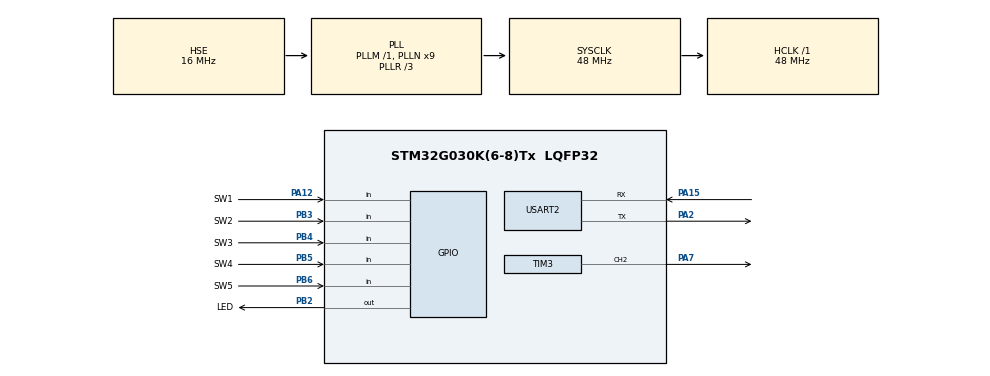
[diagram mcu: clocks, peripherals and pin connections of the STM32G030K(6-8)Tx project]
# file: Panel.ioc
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Dma.Request0=USART2_RX
Dma.Request1=TIM3_CH2
Dma.TIM3_CH2.1.Direction=DMA_MEMORY_TO_PERIPH
Dma.TIM3_CH2.1.EventEnable=DISABLE
Dma.TIM3_CH2.1.Instance=DMA1_Channel2
Dma.TIM3_CH2.1.MemDataAlignment=DMA_MDATAALIGN_BYTE
Dma.TIM3_CH2.1.MemInc=DMA_MINC_ENABLE
Dma.TIM3_CH2.1.Mode=DMA_CIRCULAR
Dma.TIM3_CH2.1.PeriphDataAlignment=DMA_PDATAALIGN_WORD
Dma.TIM3_CH2.1.PeriphInc=DMA_PINC_DISABLE
Dma.TIM3_CH2.1.Polarity=HAL_DMAMUX_REQ_GEN_RISING
Dma.TIM3_CH2.1.Priority=DMA_PRIORITY_VERY_HIGH
Dma.TIM3_CH2.1.RequestNumber=1
Dma.TIM3_CH2.1.SignalID=NONE
Dma.TIM3_CH2.1.SyncEnable=DISABLE
Dma.TIM3_CH2.1.SyncPolarity=HAL_DMAMUX_SYNC_NO_EVENT
Dma.TIM3_CH2.1.SyncRequestNumber=1
Dma.TIM3_CH2.1.SyncSignalID=NONE
Dma.USART2_RX.0.Direction=DMA_PERIPH_TO_MEMORY
Dma.USART2_RX.0.EventEnable=DISABLE
Dma.USART2_RX.0.Instance=DMA1_Channel1
Dma.USART2_RX.0.MemDataAlignment=DMA_MDATAALIGN_BYTE
Dma.USART2_RX.0.MemInc=DMA_MINC_ENABLE
Dma.USART2_RX.0.Mode=DMA_CIRCULAR
Dma.USART2_RX.0.PeriphDataAlignment=DMA_PDATAALIGN_BYTE
Dma.USART2_RX.0.PeriphInc=DMA_PINC_DISABLE
Dma.USART2_RX.0.Polarity=HAL_DMAMUX_REQ_GEN_RISING
Dma.USART2_RX.0.Priority=DMA_PRIORITY_HIGH
Dma.USART2_RX.0.RequestNumber=1
Dma.USART2_RX.0.SignalID=NONE
Dma.USART2_RX.0.SyncEnable=DISABLE
Dma.USART2_RX.0.SyncPolarity=HAL_DMAMUX_SYNC_NO_EVENT
Dma.USART2_RX.0.SyncRequestNumber=1
Dma.USART2_RX.0.SyncSignalID=NONE
Mcu.Family=STM32G0
Mcu.Name=STM32G030K(6-8)Tx
Mcu.Package=LQFP32
NVIC.DMA1_Channel1_IRQn=true\:0\:0\:false\:false\:true\:false\:true\:true
NVIC.DMA1_Channel2_3_IRQn=true\:0\:0\:false\:false\:true\:false\:true\:true
PA12\ [PA10].GPIO_Label=SW1
PA12\ [PA10].Signal=GPIO_Input
PA13.Mode=Serial_Wire
PA13.Signal=SYS_SWDIO
PA14-BOOT0.Mode=Serial_Wire
PA14-BOOT0.Signal=SYS_SWCLK
PA15.Mode=Asynchronous
PA15.Signal=USART2_RX
PA2.Mode=Asynchronous
PA2.Signal=USART2_TX
PA7.Signal=S_TIM3_CH2
PB2.GPIO_Label=LED
PB2.Signal=GPIO_Output
PB3.GPIO_Label=SW2
PB3.Signal=GPIO_Input
PB4.GPIO_Label=SW3
PB4.Signal=GPIO_Input
PB5.GPIO_Label=SW4
PB5.Signal=GPIO_Input
PB6.GPIO_Label=SW5
PB6.Signal=GPIO_Input
PC14-OSC32_IN\ (PC14).Mode=HSE-External-Clock-Source
PC14-OSC32_IN\ (PC14).Signal=RCC_OSC_IN
ProjectManager.HeapSize=0x200
ProjectManager.StackSize=0x400
ProjectManager.TargetToolchain=STM32CubeIDE
RCC.ADCFreq_Value=48000000
RCC.AHBFreq_Value=48000000
RCC.CortexFreq_Value=48000000
RCC.EXTERNAL_CLOCK_VALUE=12288000
RCC.HCLKFreq_Value=48000000
RCC.HSE_VALUE=16000000
RCC.HSI_VALUE=16000000
RCC.LSE_VALUE=32768
RCC.PLLN=9
RCC.PLLR=RCC_PLLR_DIV3
RCC.PLLSourceVirtual=RCC_PLLSOURCE_HSE
RCC.SYSCLKFreq_VALUE=48000000
RCC.SYSCLKSource=RCC_SYSCLKSOURCE_PLLCLK
RCC.VCOOutputFreq_Value=144000000
SH.S_TIM3_CH2.0=TIM3_CH2,PWM Generation2 CH2
TIM3.Channel-PWM\ Generation2\ CH2=TIM_CHANNEL_2
TIM3.OCFastMode_PWM-PWM\ Generation2\ CH2=TIM_OCFAST_ENABLE
TIM3.Period=15-1
TIM3.Prescaler=4-1
USART2.VirtualMode-Asynchronous=VM_ASYNC
VP_TIM3_VS_ClockSourceINT.Mode=Internal
board=custom

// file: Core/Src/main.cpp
/* USER CODE BEGIN Header */
/**
  ******************************************************************************
  * @file           : main.c
  * @brief          : Main program body
  ******************************************************************************
  * @attention
  *
  * Copyright (c) 2024 STMicroelectronics.
  * All rights reserved.
  *
  * This software is licensed under terms that can be found in the LICENSE file
  * in the root directory of this software component.
  * If no LICENSE file comes with this software, it is provided AS-IS.
  *
  ******************************************************************************
  */
/* USER CODE END Header */
#include "main.h"

/* USER CODE BEGIN Includes */
#include "ws2812.h"
#include "led.h"
//#include "sdma_transmit.h"
#include "image.h"

/* USER CODE END Includes */

TIM_HandleTypeDef htim3;
DMA_HandleTypeDef hdma_tim3_ch2;

UART_HandleTypeDef huart2;
DMA_HandleTypeDef hdma_usart2_rx;

/* USER CODE BEGIN PV */
WS2812 Neopixel(&htim3, TIM_CHANNEL_2, &hdma_tim3_ch2);
LED led(&Neopixel);

uint8_t p_wrtptA=0;
uint8_t p_rdptA=0;
uint16_t stop_counterA=0;
uint16_t error_counterA=0;

uint8_t rxBuf[128];
uint8_t Data[30];

int8_t myid = 0;

int16_t circle_x = 0;
int16_t circle_z = 0;
uint8_t circle_r = 0;
uint8_t circle_h = 0;
uint8_t circle_s = 255;
uint8_t circle_v = 50;
uint8_t back_h = 0;
uint8_t back_s = 255;
uint8_t back_v = 50;
uint8_t square_h = 0;
uint8_t square_s = 255;
uint8_t square_v = 50;

uint8_t image_id[6] = {0};
uint8_t image_x[6] = {0};
uint8_t image_z[6] = {0};

/* USER CODE END PV */

void SystemClock_Config(void);
static void MX_GPIO_Init(void);
static void MX_DMA_Init(void);
static void MX_USART2_UART_Init(void);
static void MX_TIM3_Init(void);
/* USER CODE BEGIN PFP */
void readBuf(UART_HandleTypeDef* uart, uint8_t* buf, int buf_size, uint8_t* data, int data_size, uint8_t id, uint8_t* p_wrtpt, uint8_t* p_rdpt, uint16_t* stop_counter, uint16_t* error_counter, uint8_t go_back);
/* USER CODE END PFP */

/* USER CODE BEGIN 0 */

void HAL_TIM_PWM_PulseFinishedHalfCpltCallback(TIM_HandleTypeDef *htim) {
	Neopixel.do_forwardRewrite();
}

void HAL_TIM_PWM_PulseFinishedCallback(TIM_HandleTypeDef *htim){
	Neopixel.do_backRewrite();
}

uint8_t readID(){
	uint8_t ID = 0;
	if(HAL_GPIO_ReadPin(SW1_GPIO_Port, SW1_Pin)==1){
		ID+=1;
	}
	if(HAL_GPIO_ReadPin(SW2_GPIO_Port, SW2_Pin)==1){
		ID+=2;
	}
	if(HAL_GPIO_ReadPin(SW3_GPIO_Port, SW3_Pin)==1){
		ID+=4;
	}
	//養生5番はここを消す。ハード故障。
	if(HAL_GPIO_ReadPin(SW4_GPIO_Port, SW4_Pin)==1){
		ID+=8;
	}
	if(HAL_GPIO_ReadPin(SW5_GPIO_Port, SW5_Pin)==1){
		ID+=16;
	}
	return ID;
}

/* USER CODE END 0 */

int main(void)
{

  /* MCU Configuration--------------------------------------------------------*/

  /* Reset of all peripherals, Initializes the Flash interface and the Systick. */
  HAL_Init();

  /* USER CODE BEGIN Init */
  for(uint8_t i=0; i<128; i++){
	  rxBuf[i] = 255;
  }

  /* USER CODE END Init */

  /* Configure the system clock */
  SystemClock_Config();

  /* Initialize all configured peripherals */
  MX_GPIO_Init();
  MX_DMA_Init();
  MX_USART2_UART_Init();
  MX_TIM3_Init();
  /* USER CODE BEGIN 2 */

  HAL_UART_Receive_DMA(&huart2, rxBuf, 128);
  HAL_Delay(1);

  // Start Motion
  Neopixel.clear();
  for(uint16_t n=0; n<256; n++){
	  Neopixel.set_hsv(n, 100, 100, 5);
  }
  Neopixel.show();
  Neopixel.show(); //これ2回連続にしないと、最後の一つが光らない。なんでなん。
  HAL_Delay(1000);

  for(int naname=0; naname<121; naname++){
	  Neopixel.clear();
	  for(int px=0; px<16; px++){
		  for(int pz=0; pz<16; pz++){
			  int hue = 10;
			  int sat = 100;
			  int val = 0;

			  if(naname < 31){
				  if(pz+px <= naname){hue=50;val=20;}
		   	  }else if(naname < 61){
				  if((15-pz)+px <= naname-30){hue=100;val=20;}
		   	  }else if(naname < 91){
				  if(pz+px <= naname-60){hue=150;val=20;}
		   	  }else if(naname < 121){
				  if((15-pz)+px <= naname-90){hue=200;val=20;}
		   	  }
			  uint16_t pixel_num = 0;
			  if(pz%2 == 0){pixel_num = pz*16 + px;
			  }else{pixel_num = pz*16 + 15 - px;}
			  Neopixel.set_hsv(pixel_num, hue, sat, val);
		  }
	  }
	  Neopixel.show();
	  HAL_Delay(10);
  }
  HAL_Delay(1000);

  /* USER CODE END 2 */

  /* Infinite loop */
  /* USER CODE BEGIN WHILE */
  while (1)
  {
	readBuf(&huart2, rxBuf, 128, Data, 30, 0, &p_wrtptA, &p_rdptA, &stop_counterA, &error_counterA, 60);
	myid = readID();

	circle_x = Data[0]-100;
	circle_z = Data[1]-100;
	circle_r = Data[2];
	circle_h = Data[3];
	circle_s = Data[4];
	circle_v = Data[5];
	back_h = Data[6];
	back_s = Data[7];
	back_v = Data[8];
	square_h = Data[9];
	square_s = Data[10];
	square_v = Data[11];
	for(uint8_t i=0; i<6; i++){
		image_id[i] = Data[12+(i*3)];
		image_x[i] = Data[13+(i*3)]-100;
		image_z[i] = Data[14+(i*3)]-100;
	}

    /* USER CODE END WHILE */

    /* USER CODE BEGIN 3 */

	  Neopixel.clear();

	  //----------------------------------------------
	  uint16_t PANEL_START_X = 0;
	  uint16_t PANEL_START_Z = 0;

	  if	 (myid==0){PANEL_START_X = 0; PANEL_START_Z = 0;}
	  else if(myid==1){PANEL_START_X = 0; PANEL_START_Z = 16;}
	  else if(myid==2){PANEL_START_X = 0; PANEL_START_Z = 32;}

	  else if(myid==3){PANEL_START_X = 16; PANEL_START_Z = 0;}
	  else if(myid==4){PANEL_START_X = 16; PANEL_START_Z = 16;}
	  else if(myid==5){PANEL_START_X = 16; PANEL_START_Z = 32;}

	  else if(myid==6){PANEL_START_X = 32; PANEL_START_Z = 0;}
	  else if(myid==7){PANEL_START_X = 32; PANEL_START_Z = 16;}
	  else if(myid==8){PANEL_START_X = 32; PANEL_START_Z = 32;}

//	  void LED::show(int travel_x, int circle_x, int circle_z, int circle_r, int hue, int hue_of_back){
//	      NEOPIXEL->clear();
	  for(int px=0; px<16; px++){
		  for(int pz=0; pz<16; pz++){
			  int x = px + PANEL_START_X;
			  int z = pz + PANEL_START_Z;

			  //BACK_GROUND
			  int hue=back_h;
			  int sat=back_s;
			  int val=back_v;

			  //square
			  if((x==0 || x==1)||(x==46 || x==47)){
					hue = square_h; sat = square_s; val = square_v;
			  }
			  if((z==0 || z==1)||(z==46 || z==47)){
			  		hue = square_h; sat = square_s; val = square_v;
			  }

			  //CIRCLE
			  if(circle_r != 0){
				  int8_t cx = 47-circle_x;
				  int8_t cz = circle_z;
				  uint8_t cr = circle_r;
				  uint8_t myx = x;
				  uint8_t myz = z;
				  float distance = (myx-cx)*(myx-cx)+(myz-cz)*(myz-cz);
				  if(cr*cr>=distance){
					hue = circle_h; sat = circle_s; val = circle_v;
				  }
			  }

			  //image
			  for(uint8_t i=0; i<6; i++){
				  if(image_id[i] != 0){
					  int8_t cx = 47-image_x[i];
					  int8_t cz = image_z[i];
					  if(image_id[i] == 1){ //fish_15x6[6][15]
						  // xが　cxからcx+15の間かどうか
						  //cxからの距離
						  int8_t xx = x - cx;
						  int8_t zz = z - cz;
						  if((0<=xx && xx<15) && (0<=zz && zz<6)){
							  //範囲内。色をつけよう。
							  if(fish_15x6[zz][xx] == 1){ //目ん玉
								hue = 90; sat = 250; val = 200;
							  }else if(fish_15x6[zz][xx] == 2){ //体
								hue = 14; sat = 255; val = 150;
							  }
						  }
					  }else if(image_id[i] == 2){ //fish_15x6[6][15]
						  // xが　cxからcx+15の間かどうか
						  //cxからの距離
						  int8_t xx = x - cx;
						  int8_t zz = z - cz;
						  if((0<=xx && xx<15) && (0<=zz && zz<6)){
							  //範囲内。色をつけよう。
							  if(fish_15x6[zz][14-xx] == 1){ //目ん玉
								hue = 90; sat = 250; val = 200;
							  }else if(fish_15x6[zz][14-xx] == 2){ //体
								hue = 14; sat = 255; val = 150;
							  }
						  }
					  }
				  }
			  }

			  //SET
			  uint16_t pixel_num = 0;
			  if(pz%2 == 0){
				   pixel_num = pz*16 + px;
			  }else{
				  pixel_num = pz*16 + 15 - px;
			  }
			  Neopixel.set_hsv(pixel_num, hue, sat, val);
		  }
	  }
	  Neopixel.show();

  }
  /* USER CODE END 3 */
}

void SystemClock_Config(void)
{
  RCC_OscInitTypeDef RCC_OscInitStruct = {0};
  RCC_ClkInitTypeDef RCC_ClkInitStruct = {0};

  /** Configure the main internal regulator output voltage
  */
  HAL_PWREx_ControlVoltageScaling(PWR_REGULATOR_VOLTAGE_SCALE1);

  /** Initializes the RCC Oscillators according to the specified parameters
  * in the RCC_OscInitTypeDef structure.
  */
  RCC_OscInitStruct.OscillatorType = RCC_OSCILLATORTYPE_HSE;
  RCC_OscInitStruct.HSEState = RCC_HSE_BYPASS;
  RCC_OscInitStruct.PLL.PLLState = RCC_PLL_ON;
  RCC_OscInitStruct.PLL.PLLSource = RCC_PLLSOURCE_HSE;
  RCC_OscInitStruct.PLL.PLLM = RCC_PLLM_DIV1;
  RCC_OscInitStruct.PLL.PLLN = 9;
  RCC_OscInitStruct.PLL.PLLP = RCC_PLLP_DIV2;
  RCC_OscInitStruct.PLL.PLLR = RCC_PLLR_DIV3;
  if (HAL_RCC_OscConfig(&RCC_OscInitStruct) != HAL_OK)
  {
    Error_Handler();
  }

  /** Initializes the CPU, AHB and APB buses clocks
  */
  RCC_ClkInitStruct.ClockType = RCC_CLOCKTYPE_HCLK|RCC_CLOCKTYPE_SYSCLK
                              |RCC_CLOCKTYPE_PCLK1;
  RCC_ClkInitStruct.SYSCLKSource = RCC_SYSCLKSOURCE_PLLCLK;
  RCC_ClkInitStruct.AHBCLKDivider = RCC_SYSCLK_DIV1;
  RCC_ClkInitStruct.APB1CLKDivider = RCC_HCLK_DIV1;

  if (HAL_RCC_ClockConfig(&RCC_ClkInitStruct, FLASH_LATENCY_1) != HAL_OK)
  {
    Error_Handler();
  }
}

static void MX_TIM3_Init(void)
{

  TIM_ClockConfigTypeDef sClockSourceConfig = {0};
  TIM_MasterConfigTypeDef sMasterConfig = {0};
  TIM_OC_InitTypeDef sConfigOC = {0};

  htim3.Instance = TIM3;
  htim3.Init.Prescaler = 4-1;
  htim3.Init.CounterMode = TIM_COUNTERMODE_UP;
  htim3.Init.Period = 15-1;
  htim3.Init.ClockDivision = TIM_CLOCKDIVISION_DIV1;
  htim3.Init.AutoReloadPreload = TIM_AUTORELOAD_PRELOAD_DISABLE;
  if (HAL_TIM_Base_Init(&htim3) != HAL_OK)
  {
    Error_Handler();
  }
  sClockSourceConfig.ClockSource = TIM_CLOCKSOURCE_INTERNAL;
  if (HAL_TIM_ConfigClockSource(&htim3, &sClockSourceConfig) != HAL_OK)
  {
    Error_Handler();
  }
  if (HAL_TIM_PWM_Init(&htim3) != HAL_OK)
  {
    Error_Handler();
  }
  sMasterConfig.MasterOutputTrigger = TIM_TRGO_RESET;
  sMasterConfig.MasterSlaveMode = TIM_MASTERSLAVEMODE_DISABLE;
  if (HAL_TIMEx_MasterConfigSynchronization(&htim3, &sMasterConfig) != HAL_OK)
  {
    Error_Handler();
  }
  sConfigOC.OCMode = TIM_OCMODE_PWM1;
  sConfigOC.Pulse = 0;
  sConfigOC.OCPolarity = TIM_OCPOLARITY_HIGH;
  sConfigOC.OCFastMode = TIM_OCFAST_ENABLE;
  if (HAL_TIM_PWM_ConfigChannel(&htim3, &sConfigOC, TIM_CHANNEL_2) != HAL_OK)
  {
    Error_Handler();
  }
  HAL_TIM_MspPostInit(&htim3);

}

static void MX_USART2_UART_Init(void)
{

  huart2.Instance = USART2;
  huart2.Init.BaudRate = 115200;
  huart2.Init.WordLength = UART_WORDLENGTH_8B;
  huart2.Init.StopBits = UART_STOPBITS_1;
  huart2.Init.Parity = UART_PARITY_NONE;
  huart2.Init.Mode = UART_MODE_TX_RX;
  huart2.Init.HwFlowCtl = UART_HWCONTROL_NONE;
  huart2.Init.OverSampling = UART_OVERSAMPLING_16;
  huart2.Init.OneBitSampling = UART_ONE_BIT_SAMPLE_DISABLE;
  huart2.Init.ClockPrescaler = UART_PRESCALER_DIV1;
  huart2.AdvancedInit.AdvFeatureInit = UART_ADVFEATURE_NO_INIT;
  if (HAL_UART_Init(&huart2) != HAL_OK)
  {
    Error_Handler();
  }

}

static void MX_DMA_Init(void)
{

  /* DMA controller clock enable */
  __HAL_RCC_DMA1_CLK_ENABLE();

  /* DMA interrupt init */
  /* DMA1_Channel1_IRQn interrupt configuration */
  HAL_NVIC_SetPriority(DMA1_Channel1_IRQn, 0, 0);
  HAL_NVIC_EnableIRQ(DMA1_Channel1_IRQn);
  /* DMA1_Channel2_3_IRQn interrupt configuration */
  HAL_NVIC_SetPriority(DMA1_Channel2_3_IRQn, 0, 0);
  HAL_NVIC_EnableIRQ(DMA1_Channel2_3_IRQn);

}

static void MX_GPIO_Init(void)
{
  GPIO_InitTypeDef GPIO_InitStruct = {0};

  /* GPIO Ports Clock Enable */
  __HAL_RCC_GPIOC_CLK_ENABLE();
  __HAL_RCC_GPIOA_CLK_ENABLE();
  __HAL_RCC_GPIOB_CLK_ENABLE();

  /*Configure GPIO pin Output Level */
  HAL_GPIO_WritePin(LED_GPIO_Port, LED_Pin, GPIO_PIN_RESET);

  /*Configure GPIO pin : LED_Pin */
  GPIO_InitStruct.Pin = LED_Pin;
  GPIO_InitStruct.Mode = GPIO_MODE_OUTPUT_PP;
  GPIO_InitStruct.Pull = GPIO_NOPULL;
  GPIO_InitStruct.Speed = GPIO_SPEED_FREQ_LOW;
  HAL_GPIO_Init(LED_GPIO_Port, &GPIO_InitStruct);

  /*Configure GPIO pin : SW1_Pin */
  GPIO_InitStruct.Pin = SW1_Pin;
  GPIO_InitStruct.Mode = GPIO_MODE_INPUT;
  GPIO_InitStruct.Pull = GPIO_NOPULL;
  HAL_GPIO_Init(SW1_GPIO_Port, &GPIO_InitStruct);

  /*Configure GPIO pins : SW2_Pin SW3_Pin SW4_Pin SW5_Pin */
  GPIO_InitStruct.Pin = SW2_Pin|SW3_Pin|SW4_Pin|SW5_Pin;
  GPIO_InitStruct.Mode = GPIO_MODE_INPUT;
  GPIO_InitStruct.Pull = GPIO_NOPULL;
  HAL_GPIO_Init(GPIOB, &GPIO_InitStruct);

}

/* USER CODE BEGIN 4 */

void readBuf(UART_HandleTypeDef* uart, uint8_t* buf, int buf_size, uint8_t* data, int data_size, uint8_t id, uint8_t* p_wrtpt, uint8_t* p_rdpt, uint16_t* stop_counter, uint16_t* error_counter, uint8_t go_back){
	int wrt_pt = uart->hdmarx->Instance->CNDTR;
	wrt_pt= buf_size - wrt_pt;
	int rd_pt;

	if(wrt_pt != *p_rdpt){//wrtに追??��?��?付かれてな??��?��?
		if(buf[*p_rdpt] == 255){//p_rdptが書き換えられてな??��?��?=追??��?��?越されてな??��?��?
			if(wrt_pt != *p_wrtpt){//wrt_ptが�???��?��んだ=受信した
//正常
				*stop_counter = 0;
				rd_pt = *p_rdpt;
			}else{//wrt_ptが�???��?��んでな??��?��?=受信してな??��?��?
//受信してな??��?��?
				(*stop_counter)++;
				rd_pt = *p_rdpt;
			}
		}else{//p_rdptが書き換えられた=追??��?��?越された
//追??��?��?越された
			(*error_counter)++;
			rd_pt = wrt_pt - go_back;
				if(rd_pt < 0){rd_pt += buf_size;}
		}
	}else{//wrtに追??��?��?付かれた,追??��?��?付い??��?��?
		int front_pt = wrt_pt + 1;
			if(front_pt>buf_size-1){front_pt -= buf_size;}

		if(buf[front_pt] == 255){
//追??��?��?付い??��?��?
			(*stop_counter)++;
			rd_pt = *p_rdpt;
		}else{
//追??��?��?付かれた
			(*error_counter)++;
			rd_pt = wrt_pt - go_back;
				if(rd_pt < 0){rd_pt += buf_size;}
		}
	}

	if(*stop_counter > 65500){*stop_counter = 65500;}
	if(*error_counter > 65500){*error_counter = 65500;}

	while(1){
		int dif_pt = wrt_pt - rd_pt;
			if(dif_pt < 0){dif_pt += buf_size;}
		if(dif_pt <= go_back/2){break;}

		rd_pt++;
			if(rd_pt>buf_size-1){rd_pt -= buf_size;}

		if(buf[rd_pt] == 250+id){
			int goal_rdpt = rd_pt + data_size;//data_sizeに0はとれな??��?��?,25以上も??��?��???��?��?

				if(goal_rdpt>buf_size-1){goal_rdpt -= buf_size;}
			int temp_rdpt = rd_pt;

			buf[rd_pt] = 255;

			for(int i=0; i<data_size; i++){
				temp_rdpt += 1;
					if(temp_rdpt>buf_size-1){temp_rdpt -= buf_size;}

				data[i] = buf[temp_rdpt];
				buf[temp_rdpt] = 255;
			}

			rd_pt = temp_rdpt;

			dif_pt = wrt_pt - rd_pt;
				if(dif_pt < 0){dif_pt += buf_size;}
			if(dif_pt >= buf_size/2){}
			else{break;}
		}else{buf[rd_pt] = 255;}
	}

	*p_rdpt = rd_pt;
//	*p_wrtpt = buf_size - (uart->hdmarx->Instance->CNDTR);
	*p_wrtpt = wrt_pt;
}
/* USER CODE END 4 */

void Error_Handler(void)
{
  __disable_irq();
  while (1)
  {
  }
}
